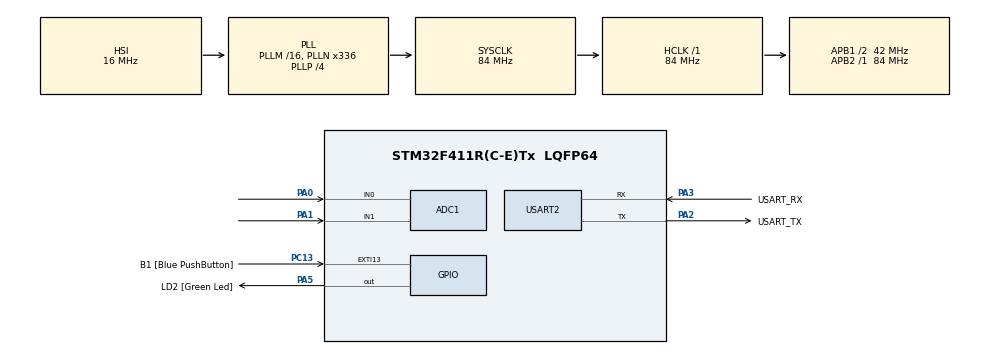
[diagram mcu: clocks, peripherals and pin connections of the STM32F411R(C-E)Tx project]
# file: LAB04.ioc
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ADC1.Channel-0\#ChannelRegularConversion=ADC_CHANNEL_0
ADC1.Channel-1\#ChannelRegularConversion=ADC_CHANNEL_1
ADC1.Channel-2\#ChannelRegularConversion=ADC_CHANNEL_TEMPSENSOR
ADC1.Channel-3\#ChannelRegularConversion=ADC_CHANNEL_VREFINT
ADC1.ContinuousConvMode=ENABLE
ADC1.DMAContinuousRequests=ENABLE
ADC1.NbrOfConversion=4
ADC1.NbrOfConversionFlag=1
ADC1.Rank-0\#ChannelRegularConversion=1
ADC1.Rank-1\#ChannelRegularConversion=2
ADC1.Rank-2\#ChannelRegularConversion=3
ADC1.Rank-3\#ChannelRegularConversion=4
ADC1.SamplingTime-0\#ChannelRegularConversion=ADC_SAMPLETIME_480CYCLES
ADC1.SamplingTime-1\#ChannelRegularConversion=ADC_SAMPLETIME_480CYCLES
ADC1.SamplingTime-2\#ChannelRegularConversion=ADC_SAMPLETIME_480CYCLES
ADC1.SamplingTime-3\#ChannelRegularConversion=ADC_SAMPLETIME_480CYCLES
ADC1.ScanConvMode=ENABLE
ADC1.master=1
Dma.ADC1.0.Direction=DMA_PERIPH_TO_MEMORY
Dma.ADC1.0.FIFOMode=DMA_FIFOMODE_DISABLE
Dma.ADC1.0.Instance=DMA2_Stream0
Dma.ADC1.0.MemDataAlignment=DMA_MDATAALIGN_WORD
Dma.ADC1.0.MemInc=DMA_MINC_ENABLE
Dma.ADC1.0.Mode=DMA_CIRCULAR
Dma.ADC1.0.PeriphDataAlignment=DMA_PDATAALIGN_WORD
Dma.ADC1.0.PeriphInc=DMA_PINC_DISABLE
Dma.ADC1.0.Priority=DMA_PRIORITY_LOW
Dma.Request0=ADC1
Mcu.Family=STM32F4
Mcu.Name=STM32F411R(C-E)Tx
Mcu.Package=LQFP64
NVIC.DMA2_Stream0_IRQn=true\:0\:0\:false\:false\:true\:false\:true
NVIC.EXTI15_10_IRQn=true\:0\:0\:false\:false\:true\:true\:true
NVIC.PriorityGroup=NVIC_PRIORITYGROUP_0
PA0-WKUP.Signal=ADCx_IN0
PA1.Signal=ADCx_IN1
PA13.GPIO_Label=TMS
PA13.Mode=Serial_Wire
PA13.Signal=SYS_JTMS-SWDIO
PA14.GPIO_Label=TCK
PA14.Mode=Serial_Wire
PA14.Signal=SYS_JTCK-SWCLK
PA2.GPIO_Label=USART_TX
PA2.Mode=Asynchronous
PA2.Signal=USART2_TX
PA3.GPIO_Label=USART_RX
PA3.Mode=Asynchronous
PA3.Signal=USART2_RX
PA5.GPIO_Label=LD2 [Green Led]
PA5.PinState=GPIO_PIN_SET
PA5.Signal=GPIO_Output
PB3.GPIO_Label=SWO
PB3.Signal=SYS_JTDO-SWO
PC13-ANTI_TAMP.GPIO_Label=B1 [Blue PushButton]
PC13-ANTI_TAMP.GPIO_ModeDefaultEXTI=GPIO_MODE_IT_RISING_FALLING
PC13-ANTI_TAMP.GPIO_PuPd=GPIO_NOPULL
PC13-ANTI_TAMP.Signal=GPXTI13
PC14-OSC32_IN.Mode=LSE-External-Oscillator
PC14-OSC32_IN.Signal=RCC_OSC32_IN
PC15-OSC32_OUT.Mode=LSE-External-Oscillator
PC15-OSC32_OUT.Signal=RCC_OSC32_OUT
PH0\ -\ OSC_IN.Mode=HSE-External-Clock-Source
PH0\ -\ OSC_IN.Signal=RCC_OSC_IN
PH1\ -\ OSC_OUT.Mode=HSE-External-Clock-Source
PH1\ -\ OSC_OUT.Signal=RCC_OSC_OUT
ProjectManager.HeapSize=0x200
ProjectManager.StackSize=0x400
ProjectManager.TargetToolchain=STM32CubeIDE
RCC.48MHZClocksFreq_Value=84000000
RCC.AHBFreq_Value=84000000
RCC.APB1CLKDivider=RCC_HCLK_DIV2
RCC.APB1Freq_Value=42000000
RCC.APB1TimFreq_Value=84000000
RCC.APB2Freq_Value=84000000
RCC.APB2TimFreq_Value=84000000
RCC.CortexFreq_Value=84000000
RCC.FLatency-AdvancedSettings=FLASH_LATENCY_2
RCC.HCLKFreq_Value=84000000
RCC.HSE_VALUE=8000000
RCC.HSI_VALUE=16000000
RCC.PLLN=336
RCC.PLLP=RCC_PLLP_DIV4
RCC.SYSCLKFreq_VALUE=84000000
RCC.SYSCLKSource=RCC_SYSCLKSOURCE_PLLCLK
RCC.VCOOutputFreq_Value=336000000
SH.ADCx_IN0.0=ADC1_IN0,IN0
SH.ADCx_IN1.0=ADC1_IN1,IN1
USART2.VirtualMode=VM_ASYNC
VP_ADC1_TempSens_Input.Mode=IN-TempSens
VP_ADC1_Vref_Input.Mode=IN-Vrefint
board=NUCLEO-F411RE

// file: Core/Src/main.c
/* USER CODE BEGIN Header */
/**
  ******************************************************************************
  * @file           : main.c
  * @brief          : Main program body
  ******************************************************************************
  * @attention
  *
  * <h2><center>&copy; Copyright (c) 2021 STMicroelectronics.
  * All rights reserved.</center></h2>
  *
  * This software component is licensed by ST under BSD 3-Clause license,
  * the "License"; You may not use this file except in compliance with the
  * License. You may obtain a copy of the License at:
  *                        opensource.org/licenses/BSD-3-Clause
  *
  ******************************************************************************
  */
/* USER CODE END Header */
#include "main.h"

ADC_HandleTypeDef hadc1;
DMA_HandleTypeDef hdma_adc1;

UART_HandleTypeDef huart2;

/* USER CODE BEGIN PV */
uint32_t ADCData[4]={0};
int State = 0;
uint32_t Time = 0;
uint32_t Count_Time = 0;
uint32_t Toggle_Time = 0;
uint32_t Time_Now = 0;
uint32_t ANS_Time = 0;
/* USER CODE END PV */

void SystemClock_Config(void);
static void MX_GPIO_Init(void);
static void MX_DMA_Init(void);
static void MX_USART2_UART_Init(void);
static void MX_ADC1_Init(void);

int main(void)
{

  /* MCU Configuration--------------------------------------------------------*/

  /* Reset of all peripherals, Initializes the Flash interface and the Systick. */
  HAL_Init();

  /* Configure the system clock */
  SystemClock_Config();

  /* Initialize all configured peripherals */
  MX_GPIO_Init();
  MX_DMA_Init();
  MX_USART2_UART_Init();
  MX_ADC1_Init();
  /* USER CODE BEGIN 2 */
  HAL_ADC_Start_DMA(&hadc1, ADCData, 4);
  /* USER CODE END 2 */

  /* Infinite loop */
  while (1)
  {

    /* USER CODE BEGIN 3 */
	  Time_Now = HAL_GetTick();
	  if(HAL_GetTick()-Time>=Count_Time && State == 1)
	  {
		  Toggle_Time = HAL_GetTick();
		  HAL_GPIO_WritePin(GPIOA, GPIO_PIN_5, 1);
		  State = 2;
	  }

  }
  /* USER CODE END 3 */
}

void SystemClock_Config(void)
{
  RCC_OscInitTypeDef RCC_OscInitStruct = {0};
  RCC_ClkInitTypeDef RCC_ClkInitStruct = {0};

  /** Configure the main internal regulator output voltage
  */
  __HAL_RCC_PWR_CLK_ENABLE();
  __HAL_PWR_VOLTAGESCALING_CONFIG(PWR_REGULATOR_VOLTAGE_SCALE1);
  /** Initializes the RCC Oscillators according to the specified parameters
  * in the RCC_OscInitTypeDef structure.
  */
  RCC_OscInitStruct.OscillatorType = RCC_OSCILLATORTYPE_HSI;
  RCC_OscInitStruct.HSIState = RCC_HSI_ON;
  RCC_OscInitStruct.HSICalibrationValue = RCC_HSICALIBRATION_DEFAULT;
  RCC_OscInitStruct.PLL.PLLState = RCC_PLL_ON;
  RCC_OscInitStruct.PLL.PLLSource = RCC_PLLSOURCE_HSI;
  RCC_OscInitStruct.PLL.PLLM = 16;
  RCC_OscInitStruct.PLL.PLLN = 336;
  RCC_OscInitStruct.PLL.PLLP = RCC_PLLP_DIV4;
  RCC_OscInitStruct.PLL.PLLQ = 4;
  if (HAL_RCC_OscConfig(&RCC_OscInitStruct) != HAL_OK)
  {
    Error_Handler();
  }
  /** Initializes the CPU, AHB and APB buses clocks
  */
  RCC_ClkInitStruct.ClockType = RCC_CLOCKTYPE_HCLK|RCC_CLOCKTYPE_SYSCLK
                              |RCC_CLOCKTYPE_PCLK1|RCC_CLOCKTYPE_PCLK2;
  RCC_ClkInitStruct.SYSCLKSource = RCC_SYSCLKSOURCE_PLLCLK;
  RCC_ClkInitStruct.AHBCLKDivider = RCC_SYSCLK_DIV1;
  RCC_ClkInitStruct.APB1CLKDivider = RCC_HCLK_DIV2;
  RCC_ClkInitStruct.APB2CLKDivider = RCC_HCLK_DIV1;

  if (HAL_RCC_ClockConfig(&RCC_ClkInitStruct, FLASH_LATENCY_2) != HAL_OK)
  {
    Error_Handler();
  }
}

static void MX_ADC1_Init(void)
{

  ADC_ChannelConfTypeDef sConfig = {0};

  /** Configure the global features of the ADC (Clock, Resolution, Data Alignment an
   * d number of conversion)
  */
  hadc1.Instance = ADC1;
  hadc1.Init.ClockPrescaler = ADC_CLOCK_SYNC_PCLK_DIV4;
  hadc1.Init.Resolution = ADC_RESOLUTION_12B;
  hadc1.Init.ScanConvMode = ENABLE;
  hadc1.Init.ContinuousConvMode = ENABLE;
  hadc1.Init.DiscontinuousConvMode = DISABLE;
  hadc1.Init.ExternalTrigConvEdge = ADC_EXTERNALTRIGCONVEDGE_NONE;
  hadc1.Init.ExternalTrigConv = ADC_SOFTWARE_START;
  hadc1.Init.DataAlign = ADC_DATAALIGN_RIGHT;
  hadc1.Init.NbrOfConversion = 4;
  hadc1.Init.DMAContinuousRequests = ENABLE;
  hadc1.Init.EOCSelection = ADC_EOC_SINGLE_CONV;
  if (HAL_ADC_Init(&hadc1) != HAL_OK)
  {
    Error_Handler();
  }
  /** Configure for the selected ADC regular channel its corresponding rank in the sequencer and its sample time.
  */
  sConfig.Channel = ADC_CHANNEL_0;
  sConfig.Rank = 1;
  sConfig.SamplingTime = ADC_SAMPLETIME_480CYCLES;
  if (HAL_ADC_ConfigChannel(&hadc1, &sConfig) != HAL_OK)
  {
    Error_Handler();
  }
  /** Configure for the selected ADC regular channel its corresponding rank in the sequencer and its sample time.
  */
  sConfig.Channel = ADC_CHANNEL_1;
  sConfig.Rank = 2;
  if (HAL_ADC_ConfigChannel(&hadc1, &sConfig) != HAL_OK)
  {
    Error_Handler();
  }
  /** Configure for the selected ADC regular channel its corresponding rank in the sequencer and its sample time.
  */
  sConfig.Channel = ADC_CHANNEL_TEMPSENSOR;
  sConfig.Rank = 3;
  if (HAL_ADC_ConfigChannel(&hadc1, &sConfig) != HAL_OK)
  {
    Error_Handler();
  }
  /** Configure for the selected ADC regular channel its corresponding rank in the sequencer and its sample time.
  */
  sConfig.Channel = ADC_CHANNEL_VREFINT;
  sConfig.Rank = 4;
  if (HAL_ADC_ConfigChannel(&hadc1, &sConfig) != HAL_OK)
  {
    Error_Handler();
  }

}

static void MX_USART2_UART_Init(void)
{

  huart2.Instance = USART2;
  huart2.Init.BaudRate = 115200;
  huart2.Init.WordLength = UART_WORDLENGTH_8B;
  huart2.Init.StopBits = UART_STOPBITS_1;
  huart2.Init.Parity = UART_PARITY_NONE;
  huart2.Init.Mode = UART_MODE_TX_RX;
  huart2.Init.HwFlowCtl = UART_HWCONTROL_NONE;
  huart2.Init.OverSampling = UART_OVERSAMPLING_16;
  if (HAL_UART_Init(&huart2) != HAL_OK)
  {
    Error_Handler();
  }

}

static void MX_DMA_Init(void)
{

  /* DMA controller clock enable */
  __HAL_RCC_DMA2_CLK_ENABLE();

  /* DMA interrupt init */
  /* DMA2_Stream0_IRQn interrupt configuration */
  HAL_NVIC_SetPriority(DMA2_Stream0_IRQn, 0, 0);
  HAL_NVIC_EnableIRQ(DMA2_Stream0_IRQn);

}

static void MX_GPIO_Init(void)
{
  GPIO_InitTypeDef GPIO_InitStruct = {0};

  /* GPIO Ports Clock Enable */
  __HAL_RCC_GPIOC_CLK_ENABLE();
  __HAL_RCC_GPIOH_CLK_ENABLE();
  __HAL_RCC_GPIOA_CLK_ENABLE();
  __HAL_RCC_GPIOB_CLK_ENABLE();

  /*Configure GPIO pin Output Level */
  HAL_GPIO_WritePin(LD2_GPIO_Port, LD2_Pin, GPIO_PIN_SET);

  /*Configure GPIO pin : B1_Pin */
  GPIO_InitStruct.Pin = B1_Pin;
  GPIO_InitStruct.Mode = GPIO_MODE_IT_RISING_FALLING;
  GPIO_InitStruct.Pull = GPIO_NOPULL;
  HAL_GPIO_Init(B1_GPIO_Port, &GPIO_InitStruct);

  /*Configure GPIO pin : LD2_Pin */
  GPIO_InitStruct.Pin = LD2_Pin;
  GPIO_InitStruct.Mode = GPIO_MODE_OUTPUT_PP;
  GPIO_InitStruct.Pull = GPIO_NOPULL;
  GPIO_InitStruct.Speed = GPIO_SPEED_FREQ_LOW;
  HAL_GPIO_Init(LD2_GPIO_Port, &GPIO_InitStruct);

  /* EXTI interrupt init*/
  HAL_NVIC_SetPriority(EXTI15_10_IRQn, 0, 0);
  HAL_NVIC_EnableIRQ(EXTI15_10_IRQn);

}

/* USER CODE BEGIN 4 */
void HAL_GPIO_EXTI_Callback(uint16_t GPIO_Pin)
{
	if(GPIO_Pin == GPIO_PIN_13)
	{
		if(State == 0 && HAL_GPIO_ReadPin(GPIOC, GPIO_PIN_13) == 0)
		{
			Time = HAL_GetTick();
			Count_Time = 1000 + (((2269547 * ADCData[0])+ADCData[1])%10000);
			HAL_GPIO_WritePin(GPIOA, GPIO_PIN_5,0);
			State = 1;
		}
		else if(State == 2 && HAL_GPIO_ReadPin(GPIOC, GPIO_PIN_13) == 1)
		{
			ANS_Time = Time_Now  - Toggle_Time;
			State = 0;
		}
	}

}
/* USER CODE END 4 */

void Error_Handler(void)
{
  __disable_irq();
  while (1)
  {
  }
}

/************************ (C) COPYRIGHT STMicroelectronics *****END OF FILE****/
